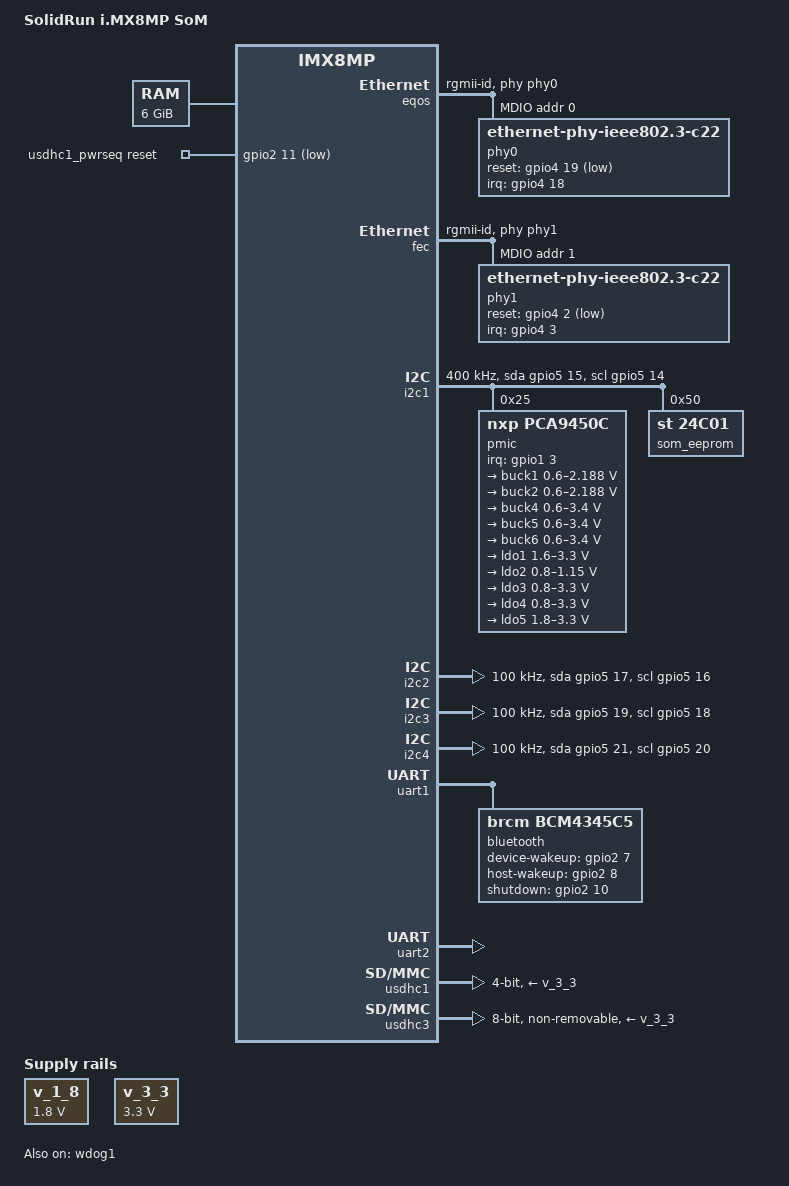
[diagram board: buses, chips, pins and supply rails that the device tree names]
// SPDX-License-Identifier: (GPL-2.0+ OR MIT)
/*
 * Copyright 2025 Josua Mayer <josua@solid-run.com>
 */

#include "imx8mp.dtsi"

/ {
	model = "SolidRun i.MX8MP SoM";
	compatible = "solidrun,imx8mp-sr-som", "fsl,imx8mp";

	chosen {
		bootargs = "earlycon=ec_imx6q,0x30890000,115200";
		stdout-path = &uart2;
	};

	memory@40000000 {
		device_type = "memory";
		reg = <0x0 0x40000000 0 0xc0000000>,
		      <0x1 0x00000000 0 0xc0000000>;
	};

	usdhc1_pwrseq: usdhc1-pwrseq {
		compatible = "mmc-pwrseq-simple";
		reset-gpios = <&gpio2 11 GPIO_ACTIVE_LOW>;
	};

	v_1_8: regulator-1-8 {
		compatible = "regulator-fixed";
		regulator-name = "1v8";
		regulator-min-microvolt = <1800000>;
		regulator-max-microvolt = <1800000>;
	};

	v_3_3: regulator-3-3 {
		compatible = "regulator-fixed";
		regulator-name = "3v3";
		regulator-min-microvolt = <3300000>;
		regulator-max-microvolt = <3300000>;
	};
};

/*
 * Reserve all physical memory from within the first 1GB of DDR address
 * space to avoid panic on low memory systems.
 */
&dsp_reserved {
	reg = <0 0x6f000000 0 0x1000000>;
};

&eqos {
	pinctrl-names = "default";
	pinctrl-0 = <&eqos_pins>, <&phy0_pins>;
	phy-mode = "rgmii-id";
	phy = <&phy0>;
	snps,force_thresh_dma_mode;
	snps,mtl-tx-config = <&mtl_tx_setup>;
	snps,mtl-rx-config = <&mtl_rx_setup>;
	status = "okay";

	mdio {
		compatible = "snps,dwmac-mdio";
		#address-cells = <1>;
		#size-cells = <0>;

		phy0: ethernet-phy@0 {
			compatible = "ethernet-phy-ieee802.3-c22";
			reg = <0>;
			reset-gpios = <&gpio4 19 GPIO_ACTIVE_LOW>;
			interrupt-parent = <&gpio4>;
			interrupts = <18 IRQ_TYPE_LEVEL_LOW>;
		};
	};

	mtl_tx_setup: tx-queues-config {
		snps,tx-queues-to-use = <5>;

		queue0 {
			snps,dcb-algorithm;
			snps,priority = <0x1>;
		};

		queue1 {
			snps,dcb-algorithm;
			snps,priority = <0x2>;
		};

		queue2 {
			snps,dcb-algorithm;
			snps,priority = <0x4>;
		};

		queue3 {
			snps,dcb-algorithm;
			snps,priority = <0x8>;
		};

		queue4 {
			snps,dcb-algorithm;
			snps,priority = <0xf0>;
		};
	};

	mtl_rx_setup: rx-queues-config {
		snps,rx-queues-to-use = <5>;
		snps,rx-sched-sp;

		queue0 {
			snps,dcb-algorithm;
			snps,priority = <0x1>;
			snps,map-to-dma-channel = <0>;
		};

		queue1 {
			snps,dcb-algorithm;
			snps,priority = <0x2>;
			snps,map-to-dma-channel = <1>;
		};

		queue2 {
			snps,dcb-algorithm;
			snps,priority = <0x4>;
			snps,map-to-dma-channel = <2>;
		};

		queue3 {
			snps,dcb-algorithm;
			snps,priority = <0x8>;
			snps,map-to-dma-channel = <3>;
		};

		queue4 {
			snps,dcb-algorithm;
			snps,priority = <0xf0>;
			snps,map-to-dma-channel = <4>;
		};
	};
};

&fec {
	pinctrl-names = "default";
	pinctrl-0 = <&fec_pins>, <&phy1_pins>;
	phy-mode = "rgmii-id";
	phy = <&phy1>;
	fsl,magic-packet;
	status = "okay";

	mdio {
		#address-cells = <1>;
		#size-cells = <0>;

		phy1: ethernet-phy@1 {
			compatible = "ethernet-phy-ieee802.3-c22";
			reg = <0x1>;
			reset-gpios = <&gpio4 2 GPIO_ACTIVE_LOW>;
			interrupt-parent = <&gpio4>;
			interrupts = <3 IRQ_TYPE_LEVEL_LOW>;
		};
	};
};

&i2c1 {
	clock-frequency = <400000>;
	pinctrl-names = "default", "gpio";
	pinctrl-0 = <&i2c1_pins>;
	pinctrl-1 = <&i2c1_gpio_pins>;
	scl-gpios = <&gpio5 14 (GPIO_ACTIVE_HIGH | GPIO_OPEN_DRAIN)>;
	sda-gpios = <&gpio5 15 (GPIO_ACTIVE_HIGH | GPIO_OPEN_DRAIN)>;
	status = "okay";

	pmic: pmic@25 {
		compatible = "nxp,pca9450c";
		reg = <0x25>;
		pinctrl-0 = <&pmic_pins>;
		pinctrl-names = "default";
		interrupt-parent = <&gpio1>;
		interrupts = <3 GPIO_ACTIVE_LOW>;
		nxp,i2c-lt-enable;

		regulators {
			buck1: BUCK1 {
				regulator-name = "BUCK1";
				regulator-min-microvolt = <600000>;
				regulator-max-microvolt = <2187500>;
				regulator-boot-on;
				regulator-always-on;
				regulator-ramp-delay = <3125>;
			};

			buck2: BUCK2 {
				regulator-name = "BUCK2";
				regulator-min-microvolt = <600000>;
				regulator-max-microvolt = <2187500>;
				regulator-boot-on;
				regulator-always-on;
				regulator-ramp-delay = <3125>;
				nxp,dvs-run-voltage = <950000>;
				nxp,dvs-standby-voltage = <850000>;
			};

			buck4: BUCK4{
				regulator-name = "BUCK4";
				regulator-min-microvolt = <600000>;
				regulator-max-microvolt = <3400000>;
				regulator-boot-on;
				regulator-always-on;
			};

			buck5: BUCK5{
				regulator-name = "BUCK5";
				regulator-min-microvolt = <600000>;
				regulator-max-microvolt = <3400000>;
				regulator-boot-on;
				regulator-always-on;
			};

			buck6: BUCK6 {
				regulator-name = "BUCK6";
				regulator-min-microvolt = <600000>;
				regulator-max-microvolt = <3400000>;
				regulator-boot-on;
				regulator-always-on;
			};

			ldo1: LDO1 {
				regulator-name = "LDO1";
				regulator-min-microvolt = <1600000>;
				regulator-max-microvolt = <3300000>;
				regulator-boot-on;
				regulator-always-on;
			};

			ldo2: LDO2 {
				regulator-name = "LDO2";
				regulator-min-microvolt = <800000>;
				regulator-max-microvolt = <1150000>;
				regulator-boot-on;
				regulator-always-on;
			};

			ldo3: LDO3 {
				regulator-name = "LDO3";
				regulator-min-microvolt = <800000>;
				regulator-max-microvolt = <3300000>;
				regulator-boot-on;
				regulator-always-on;
			};

			ldo4: LDO4 {
				regulator-name = "LDO4";
				regulator-min-microvolt = <800000>;
				regulator-max-microvolt = <3300000>;
				regulator-boot-on;
				regulator-always-on;
			};

			ldo5: LDO5 {
				regulator-name = "LDO5";
				regulator-min-microvolt = <1800000>;
				regulator-max-microvolt = <3300000>;
				regulator-boot-on;
				regulator-always-on;
			};
		};
	};

	som_eeprom: eeprom@50{
		compatible = "st,24c01", "atmel,24c01";
		reg = <0x50>;
		pagesize = <16>;
	};
};

&i2c2 {
	clock-frequency = <100000>;
	pinctrl-names = "default", "gpio";
	pinctrl-0 = <&i2c2_pins>;
	pinctrl-1 = <&i2c2_gpio_pins>;
	scl-gpios = <&gpio5 16 (GPIO_ACTIVE_HIGH | GPIO_OPEN_DRAIN)>;
	sda-gpios = <&gpio5 17 (GPIO_ACTIVE_HIGH | GPIO_OPEN_DRAIN)>;
	status = "okay";
};

&i2c3 {
	clock-frequency = <100000>;
	pinctrl-names = "default", "gpio";
	pinctrl-0 = <&i2c3_pins>;
	pinctrl-1 = <&i2c3_gpio_pins>;
	scl-gpios = <&gpio5 18 (GPIO_ACTIVE_HIGH | GPIO_OPEN_DRAIN)>;
	sda-gpios = <&gpio5 19 (GPIO_ACTIVE_HIGH | GPIO_OPEN_DRAIN)>;
	status = "okay";
};

&i2c4 {
	/* routed to basler camera connector */
	clock-frequency = <100000>;
	pinctrl-names = "default", "gpio";
	pinctrl-0 = <&i2c4_pins>;
	pinctrl-1 = <&i2c4_gpio_pins>;
	scl-gpios = <&gpio5 20 (GPIO_ACTIVE_HIGH | GPIO_OPEN_DRAIN)>;
	sda-gpios = <&gpio5 21 (GPIO_ACTIVE_HIGH | GPIO_OPEN_DRAIN)>;
	status = "okay";
};

&iomuxc {
	eqos_pins: pinctrl-eqos-grp {
		fsl,pins = <
			MX8MP_IOMUXC_ENET_MDC__ENET_QOS_MDC		0x3
			MX8MP_IOMUXC_ENET_MDIO__ENET_QOS_MDIO		0x3
			MX8MP_IOMUXC_ENET_RD0__ENET_QOS_RGMII_RD0	0x91
			MX8MP_IOMUXC_ENET_RD1__ENET_QOS_RGMII_RD1	0x91
			MX8MP_IOMUXC_ENET_RD2__ENET_QOS_RGMII_RD2	0x91
			MX8MP_IOMUXC_ENET_RD3__ENET_QOS_RGMII_RD3	0x91
			MX8MP_IOMUXC_ENET_RXC__CCM_ENET_QOS_CLOCK_GENERATE_RX_CLK	0x91
			MX8MP_IOMUXC_ENET_RX_CTL__ENET_QOS_RGMII_RX_CTL	0x91
			MX8MP_IOMUXC_ENET_TD0__ENET_QOS_RGMII_TD0	0x1f
			MX8MP_IOMUXC_ENET_TD1__ENET_QOS_RGMII_TD1	0x1f
			MX8MP_IOMUXC_ENET_TD2__ENET_QOS_RGMII_TD2	0x1f
			MX8MP_IOMUXC_ENET_TD3__ENET_QOS_RGMII_TD3	0x1f
			MX8MP_IOMUXC_ENET_TX_CTL__ENET_QOS_RGMII_TX_CTL	0x1f
			MX8MP_IOMUXC_ENET_TXC__CCM_ENET_QOS_CLOCK_GENERATE_TX_CLK	0x1f
		>;
	};

	fec_pins: pinctrl-fec-grp {
		fsl,pins = <
			MX8MP_IOMUXC_SAI1_RXD2__ENET1_MDC		0x3
			MX8MP_IOMUXC_SAI1_RXD3__ENET1_MDIO		0x3
			MX8MP_IOMUXC_SAI1_RXD4__ENET1_RGMII_RD0		0x91
			MX8MP_IOMUXC_SAI1_RXD5__ENET1_RGMII_RD1		0x91
			MX8MP_IOMUXC_SAI1_RXD6__ENET1_RGMII_RD2		0x91
			MX8MP_IOMUXC_SAI1_RXD7__ENET1_RGMII_RD3		0x91
			MX8MP_IOMUXC_SAI1_TXC__ENET1_RGMII_RXC		0x91
			MX8MP_IOMUXC_SAI1_TXFS__ENET1_RGMII_RX_CTL	0x91
			MX8MP_IOMUXC_SAI1_TXD0__ENET1_RGMII_TD0		0x1f
			MX8MP_IOMUXC_SAI1_TXD1__ENET1_RGMII_TD1		0x1f
			MX8MP_IOMUXC_SAI1_TXD2__ENET1_RGMII_TD2		0x1f
			MX8MP_IOMUXC_SAI1_TXD3__ENET1_RGMII_TD3		0x1f
			MX8MP_IOMUXC_SAI1_TXD4__ENET1_RGMII_TX_CTL	0x1f
			MX8MP_IOMUXC_SAI1_TXD5__ENET1_RGMII_TXC		0x1f
		>;
	};

	i2c1_pins: pinctrl-i2c1-grp {
		fsl,pins = <
			MX8MP_IOMUXC_I2C1_SCL__I2C1_SCL			0x400001c3
			MX8MP_IOMUXC_I2C1_SDA__I2C1_SDA			0x400001c3
		>;
	};

	i2c1_gpio_pins: pinctrl-i2c1-gpio-grp {
		fsl,pins = <
			MX8MP_IOMUXC_I2C1_SCL__GPIO5_IO14		0x400001c3
			MX8MP_IOMUXC_I2C1_SDA__GPIO5_IO15		0x400001c3
		>;
	};

	i2c2_pins: pinctrl-i2c2-grp {
		fsl,pins = <
			MX8MP_IOMUXC_I2C2_SCL__I2C2_SCL			0x400001c3
			MX8MP_IOMUXC_I2C2_SDA__I2C2_SDA			0x400001c3
		>;
	};

	i2c2_gpio_pins: pinctrl-i2c2-gpio-grp {
		fsl,pins = <
			MX8MP_IOMUXC_I2C2_SCL__GPIO5_IO16		0x400001c3
			MX8MP_IOMUXC_I2C2_SDA__GPIO5_IO17		0x400001c3
		>;
	};

	i2c3_pins: pinctrl-i2c3-grp {
		fsl,pins = <
			MX8MP_IOMUXC_I2C3_SCL__I2C3_SCL			0x400001c3
			MX8MP_IOMUXC_I2C3_SDA__I2C3_SDA			0x400001c3
		>;
	};

	i2c3_gpio_pins: pinctrl-i2c3-gpio-grp {
		fsl,pins = <
			MX8MP_IOMUXC_I2C3_SCL__GPIO5_IO18		0x400001c3
			MX8MP_IOMUXC_I2C3_SDA__GPIO5_IO19		0x400001c3
		>;
	};

	i2c4_pins: pinctrl-i2c4-grp {
		fsl,pins = <
			MX8MP_IOMUXC_I2C4_SCL__I2C4_SCL			0x400001c3
			MX8MP_IOMUXC_I2C4_SDA__I2C4_SDA			0x400001c3
		>;
	};

	i2c4_gpio_pins: pinctrl-i2c4-gpio-grp {
		fsl,pins = <
			MX8MP_IOMUXC_I2C4_SCL__GPIO5_IO20			0x400001c3
			MX8MP_IOMUXC_I2C4_SDA__GPIO5_IO21			0x400001c3
		>;
	};

	phy0_pins: pinctrl-phy0-grp {
		fsl,pins = <
			/* RESET_N: weak i/o, open drain, external 1k pull-up */
			MX8MP_IOMUXC_SAI1_TXD7__GPIO4_IO19		0x20
			/* INT_N: weak i/o, open drain, internal pull-up */
			MX8MP_IOMUXC_SAI1_TXD6__GPIO4_IO18		0x160
		>;
	};

	phy1_pins: pinctrl-phy-1-grp {
		fsl,pins = <
			/* RESET_N: weak i/o, open drain, external 1k pull-up */
			MX8MP_IOMUXC_SAI1_RXD0__GPIO4_IO02		0x20
			/* INT_N: weak i/o, open drain, internal pull-up */
			MX8MP_IOMUXC_SAI1_RXD1__GPIO4_IO03		0x160
		>;
	};

	pmic_pins: pinctrl-pmic-grp {
		fsl,pins = <
			MX8MP_IOMUXC_GPIO1_IO03__GPIO1_IO03		0x41
		>;
	};

	uart1_pins: pinctrl-uart1-grp {
		fsl,pins = <
			MX8MP_IOMUXC_UART1_RXD__UART1_DCE_RX		0x140
			MX8MP_IOMUXC_UART1_TXD__UART1_DCE_TX		0x140
			MX8MP_IOMUXC_UART3_RXD__UART1_DCE_CTS		0x140
			MX8MP_IOMUXC_UART3_TXD__UART1_DCE_RTS		0x140
			/* BT_REG_ON */
			MX8MP_IOMUXC_SD1_RESET_B__GPIO2_IO10		0x0
			/* BT_WAKE_DEV */
			MX8MP_IOMUXC_SD1_DATA5__GPIO2_IO07		0x0
			/* BT_WAKE_HOST */
			MX8MP_IOMUXC_SD1_DATA6__GPIO2_IO08		0x100
		>;
	};

	uart2_pins: pinctrl-uart2-grp {
		fsl,pins = <
			MX8MP_IOMUXC_UART2_RXD__UART2_DCE_RX		0x49
			MX8MP_IOMUXC_UART2_TXD__UART2_DCE_TX		0x49
		>;
	};

	usdhc1_pins: pinctrl-usdhc1-grp {
		fsl,pins = <
			MX8MP_IOMUXC_SD1_CLK__USDHC1_CLK		0x190
			MX8MP_IOMUXC_SD1_CMD__USDHC1_CMD		0x1d0
			MX8MP_IOMUXC_SD1_DATA0__USDHC1_DATA0		0x1d0
			MX8MP_IOMUXC_SD1_DATA1__USDHC1_DATA1		0x1d0
			MX8MP_IOMUXC_SD1_DATA2__USDHC1_DATA2		0x1d0
			MX8MP_IOMUXC_SD1_DATA3__USDHC1_DATA3		0x1d0
			/* WL_REG_ON */
			MX8MP_IOMUXC_SD1_STROBE__GPIO2_IO11		0x0
			/* WL_WAKE_HOST */
			MX8MP_IOMUXC_SD1_DATA7__GPIO2_IO09		0x100
		>;
	};

	usdhc1_100mhz_pins: pinctrl-usdhc1g-100mhz-grp {
		fsl,pins = <
			MX8MP_IOMUXC_SD1_CLK__USDHC1_CLK		0x194
			MX8MP_IOMUXC_SD1_CMD__USDHC1_CMD		0x1d4
			MX8MP_IOMUXC_SD1_DATA0__USDHC1_DATA0		0x1d4
			MX8MP_IOMUXC_SD1_DATA1__USDHC1_DATA1		0x1d4
			MX8MP_IOMUXC_SD1_DATA2__USDHC1_DATA2		0x1d4
			MX8MP_IOMUXC_SD1_DATA3__USDHC1_DATA3		0x1d4
		>;
	};

	usdhc1_200mhz_pins: pinctrl-usdhc1-200mhz-grp {
		fsl,pins = <
			MX8MP_IOMUXC_SD1_CLK__USDHC1_CLK		0x196
			MX8MP_IOMUXC_SD1_CMD__USDHC1_CMD		0x1d6
			MX8MP_IOMUXC_SD1_DATA0__USDHC1_DATA0		0x1d6
			MX8MP_IOMUXC_SD1_DATA1__USDHC1_DATA1		0x1d6
			MX8MP_IOMUXC_SD1_DATA2__USDHC1_DATA2		0x1d6
			MX8MP_IOMUXC_SD1_DATA3__USDHC1_DATA3		0x1d6
		>;
	};

	usdhc3_pins: pinctrl-usdhc3-grp {
		fsl,pins = <
			MX8MP_IOMUXC_NAND_WE_B__USDHC3_CLK		0x190
			MX8MP_IOMUXC_NAND_WP_B__USDHC3_CMD		0x1d0
			MX8MP_IOMUXC_NAND_DATA04__USDHC3_DATA0		0x1d0
			MX8MP_IOMUXC_NAND_DATA05__USDHC3_DATA1		0x1d0
			MX8MP_IOMUXC_NAND_DATA06__USDHC3_DATA2		0x1d0
			MX8MP_IOMUXC_NAND_DATA07__USDHC3_DATA3		0x1d0
			MX8MP_IOMUXC_NAND_RE_B__USDHC3_DATA4		0x1d0
			MX8MP_IOMUXC_NAND_CE2_B__USDHC3_DATA5		0x1d0
			MX8MP_IOMUXC_NAND_CE3_B__USDHC3_DATA6		0x1d0
			MX8MP_IOMUXC_NAND_CLE__USDHC3_DATA7		0x1d0
			MX8MP_IOMUXC_NAND_CE1_B__USDHC3_STROBE		0x190
		>;
	};

	usdhc3_100mhz_pins: pinctrl-usdhc3-100mhz-grp {
		fsl,pins = <
			MX8MP_IOMUXC_NAND_WE_B__USDHC3_CLK		0x194
			MX8MP_IOMUXC_NAND_WP_B__USDHC3_CMD		0x1d4
			MX8MP_IOMUXC_NAND_DATA04__USDHC3_DATA0		0x1d4
			MX8MP_IOMUXC_NAND_DATA05__USDHC3_DATA1		0x1d4
			MX8MP_IOMUXC_NAND_DATA06__USDHC3_DATA2		0x1d4
			MX8MP_IOMUXC_NAND_DATA07__USDHC3_DATA3		0x1d4
			MX8MP_IOMUXC_NAND_RE_B__USDHC3_DATA4		0x1d4
			MX8MP_IOMUXC_NAND_CE2_B__USDHC3_DATA5		0x1d4
			MX8MP_IOMUXC_NAND_CE3_B__USDHC3_DATA6		0x1d4
			MX8MP_IOMUXC_NAND_CLE__USDHC3_DATA7		0x1d4
			MX8MP_IOMUXC_NAND_CE1_B__USDHC3_STROBE		0x194
		>;
	};

	usdhc3_200mhz_pins: pinctrl-usdhc3-200mhz-grp {
		fsl,pins = <
			MX8MP_IOMUXC_NAND_WE_B__USDHC3_CLK		0x196
			MX8MP_IOMUXC_NAND_WP_B__USDHC3_CMD		0x1d6
			MX8MP_IOMUXC_NAND_DATA04__USDHC3_DATA0		0x1d6
			MX8MP_IOMUXC_NAND_DATA05__USDHC3_DATA1		0x1d6
			MX8MP_IOMUXC_NAND_DATA06__USDHC3_DATA2		0x1d6
			MX8MP_IOMUXC_NAND_DATA07__USDHC3_DATA3		0x1d6
			MX8MP_IOMUXC_NAND_RE_B__USDHC3_DATA4		0x1d6
			MX8MP_IOMUXC_NAND_CE2_B__USDHC3_DATA5		0x1d6
			MX8MP_IOMUXC_NAND_CE3_B__USDHC3_DATA6		0x1d6
			MX8MP_IOMUXC_NAND_CLE__USDHC3_DATA7		0x1d6
			MX8MP_IOMUXC_NAND_CE1_B__USDHC3_STROBE		0x196
		>;
	};

	wdog1_pins: pinctrl-wdog1-grp {
		fsl,pins = <
			MX8MP_IOMUXC_GPIO1_IO02__WDOG1_WDOG_B		0x140
		>;
	};
};

&uart1 {
	pinctrl-names = "default";
	pinctrl-0 = <&uart1_pins>;
	uart-has-rtscts;
	/* select 80MHz parent clock to support maximum baudrate 4Mbps */
	assigned-clocks = <&clk IMX8MP_CLK_UART1>;
	assigned-clock-parents = <&clk IMX8MP_SYS_PLL1_80M>;
	status = "okay";

	bluetooth {
		compatible = "brcm,bcm4345c5";
		device-wakeup-gpios = <&gpio2 7 GPIO_ACTIVE_HIGH>;
		host-wakeup-gpios = <&gpio2 8 GPIO_ACTIVE_HIGH>;
		shutdown-gpios = <&gpio2 10 GPIO_ACTIVE_HIGH>;
		/* Murata 1MW module supports max. 3M baud */
		max-speed = <3000000>;
	};
};

&uart2 {
	pinctrl-names = "default";
	pinctrl-0 = <&uart2_pins>;
	status = "okay";
};

&usdhc1 {
	pinctrl-names = "default";
	pinctrl-0 = <&usdhc1_pins>;
	pinctrl-1 = <&usdhc1_100mhz_pins>;
	pinctrl-2 = <&usdhc1_200mhz_pins>;
	vmmc-supply = <&v_3_3>;
	vqmmc-supply = <&v_1_8>;
	bus-width = <4>;
	mmc-pwrseq = <&usdhc1_pwrseq>;
	status = "okay";
};

&usdhc3 {
	pinctrl-names = "default", "state_100mhz", "state_200mhz";
	pinctrl-0 = <&usdhc3_pins>;
	pinctrl-1 = <&usdhc3_100mhz_pins>;
	pinctrl-2 = <&usdhc3_200mhz_pins>;
	vmmc-supply = <&v_3_3>;
	vqmmc-supply = <&v_1_8>;
	bus-width = <8>;
	non-removable;
	status = "okay";
};

&wdog1 {
	pinctrl-names = "default";
	pinctrl-0 = <&wdog1_pins>;
	status = "okay";
};
